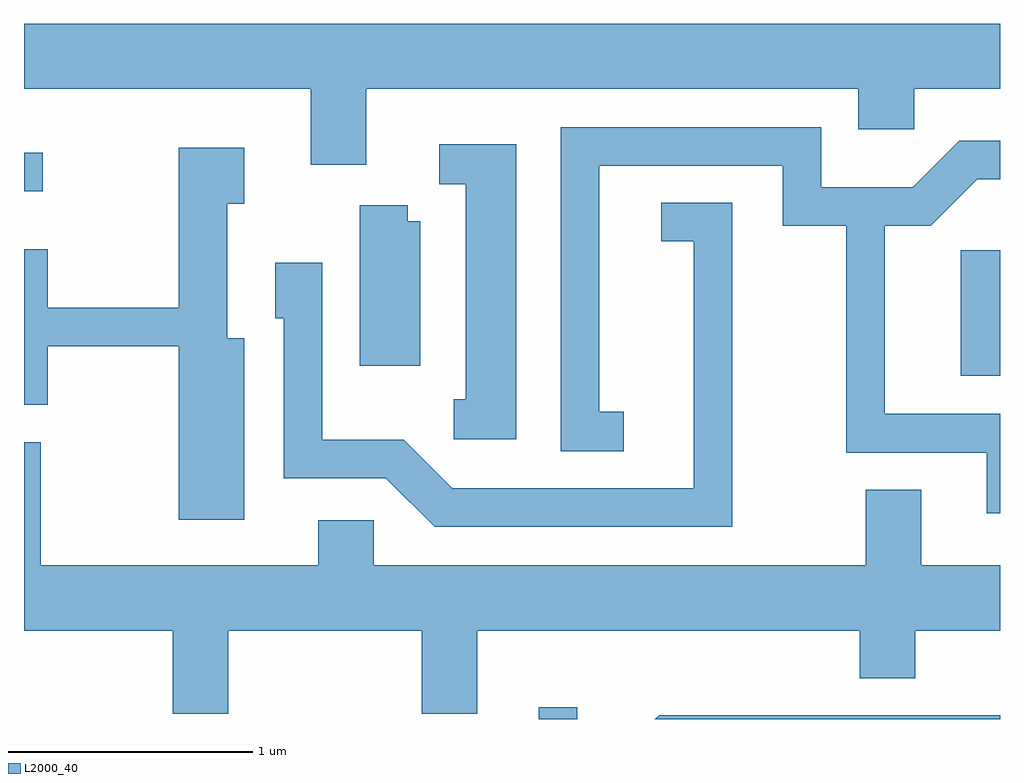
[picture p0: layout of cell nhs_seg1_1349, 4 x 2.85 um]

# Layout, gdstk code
import gdstk
lib = gdstk.Library(unit=1e-6, precision=1e-09)
def R(c, l, rs):  # rectangles x0, y0, x1, y1
    for r in rs: c.add(gdstk.rectangle(r[:2], r[2:], *l))
def P(c, l, *ps):  # polygons
    for p in ps: c.add(gdstk.Polygon(p, *l))
L2000_40 = (2000, 40)

nhs_seg1_1349 = lib.new_cell('nhs_seg1_1349')
R(nhs_seg1_1349, L2000_40, [(229.721,843.712,229.879,843.763), (231.451,845.121,231.611,845.634), (227.611,845.876,227.688,846.034)])
P(nhs_seg1_1349, L2000_40, [(229.014,846.296),(231.031,846.296),(231.031,846.131),(231.259,846.131),(231.259,846.296),(231.611,846.296),(231.611,846.564),(227.611,846.564),(227.611,846.296),(228.786,846.296),(228.786,845.986),(229.014,845.986)],
  [(231.611,844.964),(231.139,844.964),(231.139,845.736),(231.327,845.736),(231.517,845.926),(231.611,845.926),(231.611,846.084),(231.444,846.084),(231.254,845.894),(230.879,845.894),(230.879,846.139),(229.811,846.139),(229.811,844.811),(230.068,844.811),(230.068,844.974),(229.969,844.974),(229.969,845.981),(230.721,845.981),(230.721,845.736),(230.981,845.736),(230.981,844.806),(231.556,844.806),(231.556,844.558),(231.611,844.558)],
  [(229.629,846.069),(229.313,846.069),(229.313,845.906),(229.421,845.906),(229.421,845.024),(229.373,845.024),(229.373,844.861),(229.629,844.861)],
  [(228.514,845.274),(228.444,845.274),(228.444,845.826),(228.514,845.826),(228.514,846.054),(228.246,846.054),(228.246,845.399),(227.709,845.399),(227.709,845.639),(227.611,845.639),(227.611,845.001),(227.709,845.001),(227.709,845.241),(228.246,845.241),(228.246,844.531),(228.514,844.531)],
  [(230.514,845.829),(230.223,845.829),(230.223,845.671),(230.356,845.671),(230.356,844.659),(229.367,844.659),(229.167,844.859),(228.834,844.859),(228.834,845.584),(228.641,845.584),(228.641,845.356),(228.676,845.356),(228.676,844.701),(229.094,844.701),(229.294,844.501),(230.514,844.501)],
  [(229.234,845.754),(229.184,845.754),(229.184,845.819),(228.986,845.819),(228.986,845.161),(229.234,845.161)],
  [(228.449,844.076),(229.241,844.076),(229.241,843.736),(229.469,843.736),(229.469,844.076),(231.036,844.076),(231.036,843.881),(231.264,843.881),(231.264,844.076),(231.611,844.076),(231.611,844.344),(231.289,844.344),(231.289,844.654),(231.061,844.654),(231.061,844.344),(229.044,844.344),(229.044,844.529),(228.816,844.529),(228.816,844.344),(227.679,844.344),(227.679,844.849),(227.611,844.849),(227.611,844.076),(228.221,844.076),(228.221,843.736),(228.449,843.736)],
  [(231.611,843.729),(230.214,843.729),(230.197,843.712),(231.611,843.712)])

lib.write_gds('nhs_seg1_1349.gds')
